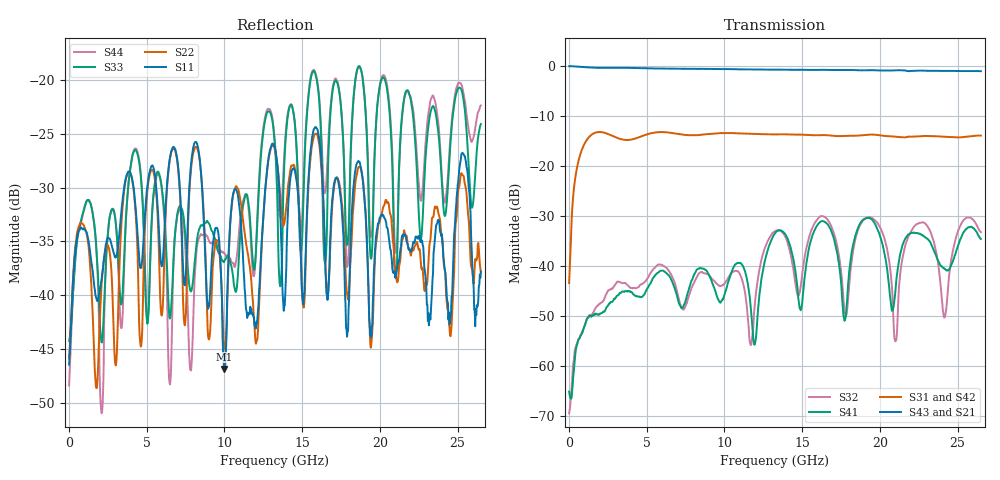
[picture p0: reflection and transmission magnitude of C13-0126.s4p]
! MARKI MICROWAVE INC.
! Email:  info@markimicrowave.com  Phone:  408-778-4200
! Model Number:  C13-0126  Date:  10/12
! Filename:		C13_0126.S4P  Version: 1.0
! Description:  4-port S-parameter data for Directional Coupler C13-0126
! Frequency Range: 	10 MHz to 26.5 GHz
! Port Configuration:	PORT 1: Input
!  PORT 2: Output
!  Port 3: Coupled
!  Port 4: Isolated
! S4P File: Measurements: Mag<S11> Ang<S11> Mag<S12> Ang<S12> Mag<S13> Ang<S13> Mag<S14> Ang<S14>! row 1
!  Mag<S21> Ang<S21> Mag<S22> Ang<S22> Mag<S23> Ang<S23> Mag<S24> Ang<S24>! row 2
!  Mag<S31> Ang<S31> Mag<S32> Ang<S32> Mag<S33> Ang<S33> Mag<S34> Ang<S34>! row 3
!  Mag<S41> Ang<S41> Mag<S42> Ang<S42> Mag<S43> Ang<S43> Mag<S44> Ang<S44>! row 4
# Hz S  dB  R 50
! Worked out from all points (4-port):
!   801 points, 10 MHz to 26.5 GHz, reference 50 ohm
!   strongest paths, dB at 10 MHz, 6.633 GHz, 13.26 GHz, 19.88 GHz, 26.5 GHz:
!     S43: 0.0, -0.5, -0.7, -0.9, -1.0
!     S21: 0.0, -0.5, -0.7, -0.9, -1.1
!     S31: -43.4, -13.4, -13.7, -13.8, -13.9
!     S42: -46.2, -13.4, -13.8, -14.0, -14.2
!     S41: -65.1, -43.1, -33.5, -32.8, -34.6
!     S32: -69.5, -42.1, -33.0, -31.6, -33.2
!   lowest |S11| = -46.8 dB at 9.977 GHz (marker M1), VSWR 1.01, Z = 50.5 - j0.0277 ohm
!   |S11| at or under -10 dB: start of sweep to end of sweep
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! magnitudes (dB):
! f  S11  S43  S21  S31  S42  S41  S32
! 10 MHz  -46.4  0.0  0.0  -43.4  -46.2  -65.1  -69.5
! 1.368 GHz  -36.1  -0.3  -0.3  -14.0  -14.0  -49.9  -49.8
! 9.977 GHz  -46.8  -0.6  -0.6  -13.4  -13.5  -46.0  -43.7
! 15.87 GHz  -24.4  -0.8  -0.8  -13.9  -14.0  -32.4  -31.1
! 19.88 GHz  -33.3  -0.9  -0.9  -13.8  -14.0  -32.8  -31.6
! 21 GHz  -38.4  -0.9  -0.9  -14.1  -14.3  -45.0  -55.1
! 26.5 GHz  -37.8  -1.0  -1.1  -13.9  -14.2  -34.6  -33.2
